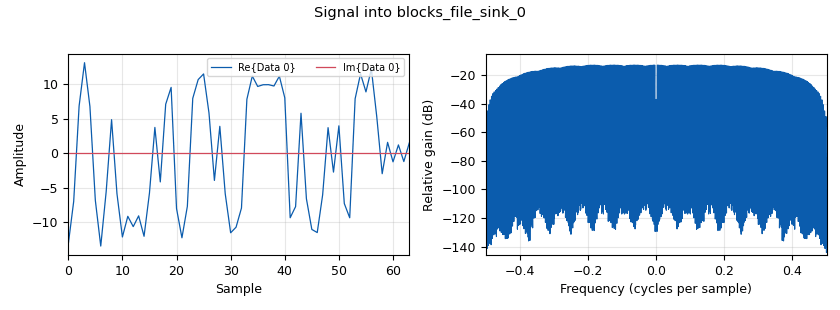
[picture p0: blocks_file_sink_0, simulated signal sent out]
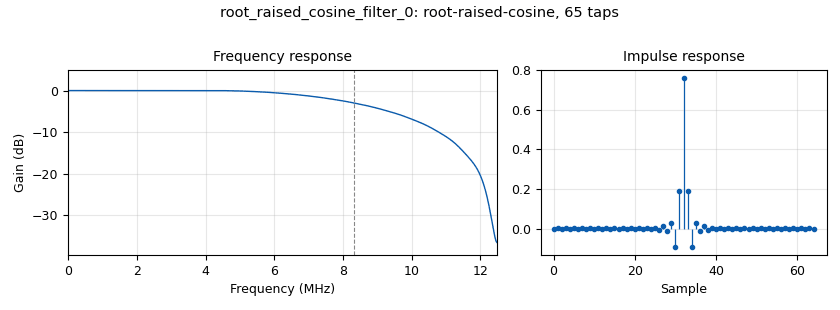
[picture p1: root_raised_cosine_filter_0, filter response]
options:
  parameters:
    generate_options: no_gui
    id: cir_tx
    output_language: python
    title: Spread Spectrum Tx
  states: {}

blocks:
- name: alpha
  id: parameter
  parameters:
    short_id: a
    type: eng_float
    value: '0.5'
  states: {}
- name: blocks_file_sink_0
  id: blocks_file_sink
  parameters:
    file: tx_sig
    type: complex
  states: {}
- name: blocks_float_to_complex_0
  id: blocks_float_to_complex
  parameters: {}
  states: {}
- name: blocks_multiply_const_vxx_0
  id: blocks_multiply_const_vxx
  parameters:
    const: '10'
    type: complex
  states: {}
- name: blocks_null_source_0
  id: blocks_null_source
  parameters:
    type: float
  states: {}
- name: center_freq
  id: parameter
  parameters:
    short_id: f
    type: eng_float
    value: 2500e6
  states: {}
- name: degree
  id: parameter
  parameters:
    short_id: d
    type: eng_float
    value: '8'
  states: {}
- name: digital_glfsr_source_x_0
  id: digital_glfsr_source_x
  parameters:
    degree: degree
    mask: '0'
    repeat: 'True'
    seed: '1'
    type: float
  states: {}
- name: gain
  id: parameter
  parameters:
    short_id: g
    type: eng_float
    value: '31.5'
  states: {}
- name: root_raised_cosine_filter_0
  id: root_raised_cosine_filter
  parameters:
    alpha: '0.5'
    gain: '1'
    interp: '1'
    ntaps: '64'
    samp_rate: samp_rate
    sym_rate: samp_rate/(1+0.5)
    type: interp_fir_filter_fff
  states: {}
- name: samp_rate
  id: parameter
  parameters:
    short_id: s
    type: eng_float
    value: 25e6
  states: {}
- name: uhd_usrp_sink_0
  id: uhd_usrp_sink
  parameters:
    ant0: TX/RX
    center_freq0: center_freq
    clock_source0: external
    dev_args: '""'
    gain0: gain
    len_tag_name: ''
    norm_gain0: 'False'
    samp_rate: samp_rate
    sync: sync
    type: fc32
  states: {state: disabled}

connections:
- [blocks_float_to_complex_0, '0', blocks_multiply_const_vxx_0, '0']
- [blocks_multiply_const_vxx_0, '0', blocks_file_sink_0, '0']
- [blocks_multiply_const_vxx_0, '0', uhd_usrp_sink_0, '0']
- [blocks_null_source_0, '0', blocks_float_to_complex_0, '1']
- [digital_glfsr_source_x_0, '0', root_raised_cosine_filter_0, '0']
- [root_raised_cosine_filter_0, '0', blocks_float_to_complex_0, '0']

metadata:
  file_format: 1
